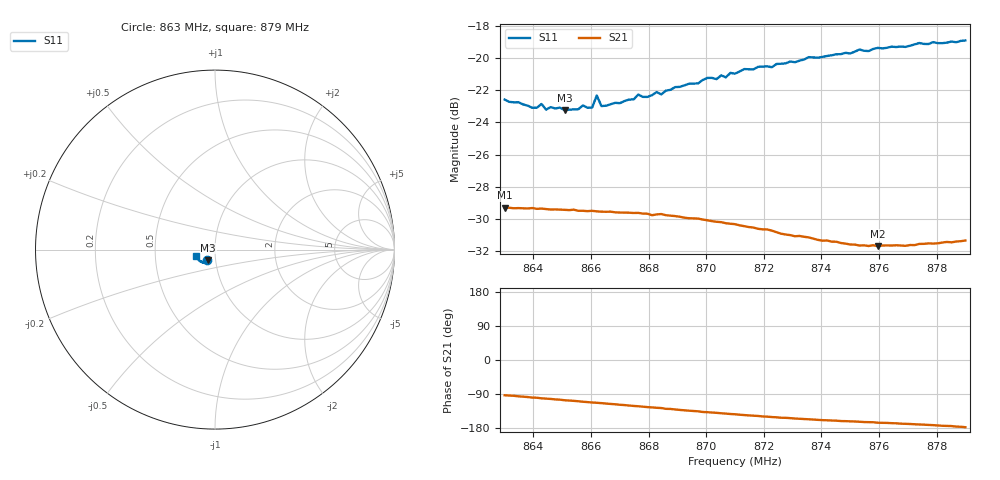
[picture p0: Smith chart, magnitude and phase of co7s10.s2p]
# HZ S RI R 50
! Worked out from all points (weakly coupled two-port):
!   101 points, 863 MHz to 879 MHz, reference 50 ohm
!   highest |S21| = -29.30 dB at 863 MHz (marker M1); lowest = -31.7 dB at 875.96 MHz (marker M2)
!   lowest |S11| = -23.2 dB at 865.08 MHz (marker M3), VSWR 1.15, Z = 46 - j5.28 ohm
!   |S11| at or under -10 dB: start of sweep to end of sweep
!   S12 and S22 are empty: the file has one direction only
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8.63e8  -0.0464 -0.0581  -0.0018 -0.0342  0 0  0 0
8.6396e8  -0.0414 -0.0566  -0.00545 -0.0337  0 0  0 0
8.6428e8  -0.0418 -0.0586  -0.00657 -0.0334  0 0  0 0
8.6444e8  -0.0397 -0.0566  -0.00701 -0.0332  0 0  0 0
8.646e8  -0.0409 -0.0574  -0.00747 -0.033  0 0  0 0
8.6508e8  -0.0386 -0.0571  -0.0094 -0.0324  0 0  0 0
8.6556e8  -0.038 -0.058  -0.0108 -0.0317  0 0  0 0
8.6572e8  -0.0373 -0.0608  -0.0115 -0.0315  0 0  0 0
8.6604e8  -0.0368 -0.0598  -0.0126 -0.031  0 0  0 0
8.662e8  -0.0478 -0.0598  -0.013 -0.0308  0 0  0 0
8.6636e8  -0.0377 -0.0601  -0.0134 -0.0305  0 0  0 0
8.6748e8  -0.0373 -0.0644  -0.0171 -0.0282  0 0  0 0
8.6764e8  -0.0398 -0.066  -0.0175 -0.028  0 0  0 0
8.6844e8  -0.0391 -0.0665  -0.0196 -0.0262  0 0  0 0
8.7004e8  -0.0475 -0.0726  -0.0232 -0.0211  0 0  0 0
8.71e8  -0.053 -0.0722  -0.0244 -0.0183  0 0  0 0
8.7132e8  -0.0552 -0.0742  -0.0247 -0.0171  0 0  0 0
8.7228e8  -0.0612 -0.071  -0.0253 -0.0143  0 0  0 0
8.7372e8  -0.0717 -0.0705  -0.0253 -0.0107  0 0  0 0
8.7596e8  -0.0883 -0.0615  -0.0252 -0.00651  0 0  0 0
8.7644e8  -0.0924 -0.057  -0.0254 -0.00602  0 0  0 0
8.79e8  -0.1077 -0.0359  -0.0271 -0.00125  0 0  0 0
